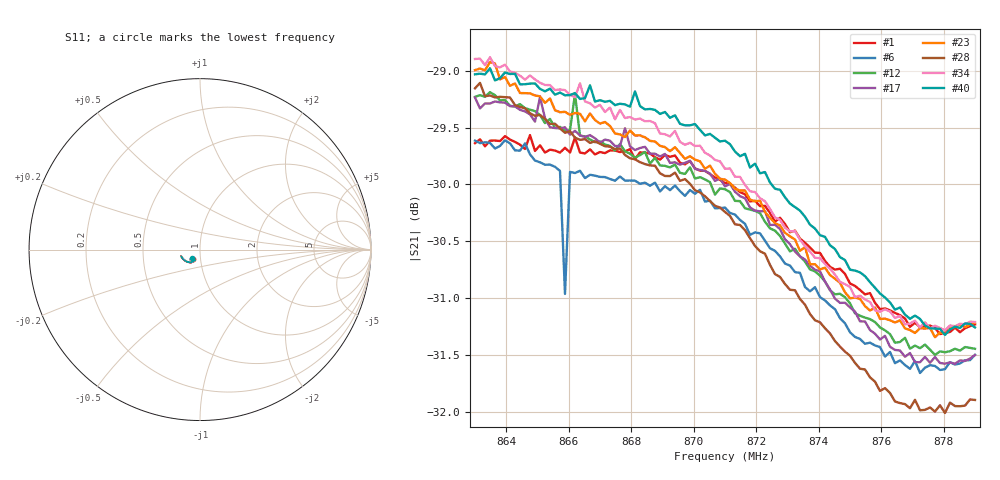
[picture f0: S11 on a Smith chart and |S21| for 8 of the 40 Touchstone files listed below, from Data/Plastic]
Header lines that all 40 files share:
# HZ S RI R 50
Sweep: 863 MHz to 879 MHz
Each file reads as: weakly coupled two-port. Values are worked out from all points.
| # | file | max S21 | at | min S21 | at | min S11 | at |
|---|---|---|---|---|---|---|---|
| 1 | po21s10.s2p | -29.57 dB | 864.76 MHz | -31.3 dB | 877.88 MHz | -23.9 dB | 866.2 MHz |
| 2 | po21s11.s2p | -29.64 dB | 863.64 MHz | -31.3 dB | 876.92 MHz | -24.1 dB | 865.56 MHz |
| 3 | po21s12.s2p | -29.47 dB | 863.16 MHz | -31.4 dB | 877.24 MHz | -23.8 dB | 864.44 MHz |
| 4 | po22s0.s2p | -29.49 dB | 863 MHz | -31.5 dB | 877.88 MHz | -23.8 dB | 865.56 MHz |
| 5 | po22s1.s2p | -29.12 dB | 863.16 MHz | -31.6 dB | 878.36 MHz | -23.8 dB | 865.24 MHz |
| 6 | po22s2.s2p | -29.61 dB | 863.96 MHz | -31.7 dB | 877.24 MHz | -23.8 dB | 864.6 MHz |
| 7 | po22s3.s2p | -28.16 dB | 864.6 MHz | -31.4 dB | 877.72 MHz | -23.8 dB | 864.92 MHz |
| 8 | po22s4.s2p | -29.07 dB | 863 MHz | -31.7 dB | 877.72 MHz | -23.8 dB | 865.24 MHz |
| 9 | po22s5.s2p | -29.01 dB | 863.32 MHz | -31.4 dB | 877.88 MHz | -23.9 dB | 864.44 MHz |
| 10 | po22s6.s2p | -28.98 dB | 863.16 MHz | -31.5 dB | 877.88 MHz | -23.7 dB | 864.92 MHz |
| 11 | po22s7.s2p | -28.54 dB | 866.04 MHz | -31.6 dB | 877.24 MHz | -23.6 dB | 863.96 MHz |
| 12 | po22s8.s2p | -29.19 dB | 863.48 MHz | -31.5 dB | 877.72 MHz | -23.8 dB | 866.2 MHz |
| 13 | po22s9.s2p | -29.15 dB | 863 MHz | -31.5 dB | 876.92 MHz | -23.7 dB | 865.56 MHz |
| 14 | po22s10.s2p | -29.35 dB | 863.48 MHz | -31.5 dB | 876.76 MHz | -23.7 dB | 865.24 MHz |
| 15 | po22s13.s2p | -29.33 dB | 863.64 MHz | -31.2 dB | 877.88 MHz | -23.8 dB | 865.24 MHz |
| 16 | po22s14.s2p | -29.21 dB | 863.8 MHz | -31.2 dB | 877.88 MHz | -23.8 dB | 864.44 MHz |
| 17 | po22s15.s2p | -29.23 dB | 865.08 MHz | -31.6 dB | 878.36 MHz | -24.0 dB | 865.08 MHz |
| 18 | po23s0.s2p | -29.16 dB | 863 MHz | -31.5 dB | 877.88 MHz | -23.6 dB | 864.44 MHz |
| 19 | po23s1.s2p | -28.26 dB | 865.08 MHz | -31.0 dB | 878.04 MHz | -23.5 dB | 864.44 MHz |
| 20 | po23s2.s2p | -29.05 dB | 863 MHz | -31.2 dB | 877.24 MHz | -23.9 dB | 865.24 MHz |
| 21 | po23s3.s2p | -29.12 dB | 863.16 MHz | -31.3 dB | 877.88 MHz | -23.7 dB | 863.96 MHz |
| 22 | po23s4.s2p | -28.15 dB | 865.88 MHz | -31.4 dB | 878.04 MHz | -23.8 dB | 864.6 MHz |
| 23 | po23s5.s2p | -28.92 dB | 863.48 MHz | -31.3 dB | 877.72 MHz | -23.9 dB | 863.64 MHz |
| 24 | po23s6.s2p | -29.00 dB | 863.8 MHz | -31.3 dB | 877.88 MHz | -23.8 dB | 864.44 MHz |
| 25 | po23s7.s2p | -28.68 dB | 864.12 MHz | -31.3 dB | 877.88 MHz | -24.5 dB | 864.12 MHz |
| 26 | po23s9.s2p | -29.00 dB | 863 MHz | -31.5 dB | 877.56 MHz | -24.2 dB | 865.08 MHz |
| 27 | po23s10.s2p | -29.37 dB | 863 MHz | -31.7 dB | 877.72 MHz | -23.9 dB | 864.44 MHz |
| 28 | po23s11.s2p | -29.11 dB | 863.16 MHz | -32.0 dB | 878.04 MHz | -23.8 dB | 865.08 MHz |
| 29 | po23s12.s2p | -29.33 dB | 863.96 MHz | -31.3 dB | 878.04 MHz | -23.8 dB | 864.76 MHz |
| 30 | po23s13.s2p | -29.30 dB | 863.96 MHz | -31.3 dB | 878.04 MHz | -23.8 dB | 864.44 MHz |
| 31 | po23s14.s2p | -29.09 dB | 863 MHz | -31.5 dB | 878.04 MHz | -23.8 dB | 864.6 MHz |
| 32 | po24s0.s2p | -29.06 dB | 863 MHz | -31.2 dB | 877.56 MHz | -24.2 dB | 863.96 MHz |
| 33 | po24s1.s2p | -28.95 dB | 863 MHz | -31.4 dB | 877.88 MHz | -23.6 dB | 864.44 MHz |
| 34 | po24s2.s2p | -28.88 dB | 863.48 MHz | -31.3 dB | 878.04 MHz | -23.6 dB | 864.92 MHz |
| 35 | po24s3.s2p | -28.82 dB | 863.64 MHz | -31.2 dB | 878.84 MHz | -23.7 dB | 865.56 MHz |
| 36 | po24s6.s2p | -29.77 dB | 863 MHz | -31.6 dB | 877.72 MHz | -23.8 dB | 865.4 MHz |
| 37 | po25s0.s2p | -28.30 dB | 867.48 MHz | -31.1 dB | 878.84 MHz | -23.6 dB | 864.44 MHz |
| 38 | po25s1.s2p | -29.16 dB | 866.04 MHz | -30.9 dB | 878.52 MHz | -23.7 dB | 863.96 MHz |
| 39 | po25s2.s2p | -29.20 dB | 863.64 MHz | -30.9 dB | 879 MHz | -23.6 dB | 864.44 MHz |
| 40 | po25s6.s2p | -28.98 dB | 863.48 MHz | -31.3 dB | 878.04 MHz | -23.8 dB | 865.4 MHz |
